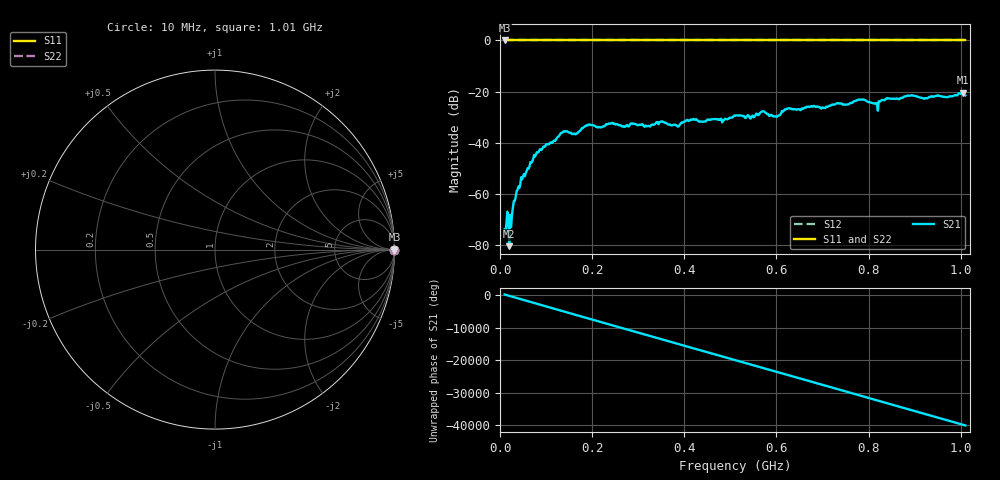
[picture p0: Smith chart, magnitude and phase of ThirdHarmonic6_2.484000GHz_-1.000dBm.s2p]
! 8/17/2025 4:39:27 AM
! C:\ANRITSUVNA\TEMP\TEMP.S2P
! CHANNEL.1
! TR.MEASUREMENT
! RAW.DATA
! RF.CORRECTION.OFF
! AVERAGING.OFF
! IF.BANDWIDTH: 5KHZ
! SWEEPTYPE:  FREQ.SWEEP(Linear)
! Reference Plane Port Info
! PORT:  PORT1  PORT2
! DISTANCE:  0  m  0  m
! TIME:  0  s  0  s
! PHASE.OFFSET:  0  deg.  0  deg.
! LOSS:  0  dB  0  dB
! REF.LOSS:  0  dB  0  dB
! REF.FREQ:  0  Hz  0  Hz
! Power Info
! POWER:  -20  dBm  -20  dBm
! EFF.POWER:  -20  dBm  -20  dBm
! SOURCE.ATTEN:  0  dB  0  dB
! TEST.ATTEN:  0  dB  0  dB
# GHZ S RI R 50.0
! FREQ.GHZ  S11RE  S11IM  S21RE  S21IM  S12RE  S12IM  S22RE  S22IM
!; PortSelection: Port_12
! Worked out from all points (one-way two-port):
!   501 points, 10 MHz to 1.01 GHz, reference 50 ohm
!   highest |S21| = -20.50 dB at 1.004 GHz (marker M1); lowest = -80.5 dB at 20 MHz (marker M2)
!   lowest |S11| = 0.0 dB at 10 MHz (marker M3)
!   |S11| at or under -10 dB: nowhere
!   |S22| runs from 0.0 to 0.0 dB; largest |S21 - S12| = 1.1
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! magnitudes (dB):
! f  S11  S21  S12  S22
! 10 MHz  0.0  -74.0  0.0  0.0
! 20 MHz  0.0  -80.5  0.0  0.0
! 24 MHz  0.0  -73.0  0.0  0.0
! 32 MHz  0.0  -62.8  0.0  0.0
! 42 MHz  0.0  -57.8  0.0  0.0
! 78 MHz  0.0  -44.6  0.0  0.0
! 136 MHz  0.0  -36.0  0.0  0.0
! 164 MHz  0.0  -36.8  0.0  0.0
! 178 MHz  0.0  -34.3  0.0  0.0
! 344 MHz  0.0  -32.8  0.0  0.0
! 386 MHz  0.0  -33.7  0.0  0.0
! 510 MHz  0.0  -29.5  0.0  0.0
! 546 MHz  0.0  -29.7  0.0  0.0
! 570 MHz  0.0  -27.7  0.0  0.0
! 598 MHz  0.0  -29.7  0.0  0.0
! 622 MHz  0.0  -26.8  0.0  0.0
! 678 MHz  0.0  -26.0  0.0  0.0
! 784 MHz  0.0  -23.2  0.0  0.0
! 816 MHz  0.0  -24.8  0.0  0.0
! 844 MHz  0.0  -22.7  0.0  0.0
! 1.004 GHz  0.0  -20.5  0.0  0.0
! 1.01 GHz  0.0  -21.5  0.0  0.0
